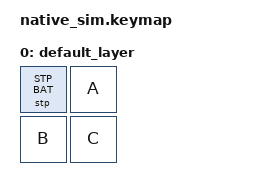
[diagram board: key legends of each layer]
#include <dt-bindings/zmk/keys.h>
#include <dt-bindings/zmk/stp.h>
#include <behaviors.dtsi>
#include <dt-bindings/zmk/kscan_mock.h>
#include "../underglow.dtsi"

/ {
    keymap {
        compatible = "zmk,keymap";

        default_layer {
            bindings = <
                &stp STP_BAT &kp A
                &kp B &kp C>;
        };
    };
};

&kscan {
    events = <
    ZMK_MOCK_PRESS(0,0,10)
    ZMK_MOCK_RELEASE(0,0,10)
    ZMK_MOCK_PRESS(0,1,10)
    ZMK_MOCK_RELEASE(0,1,10)
    >;
};
